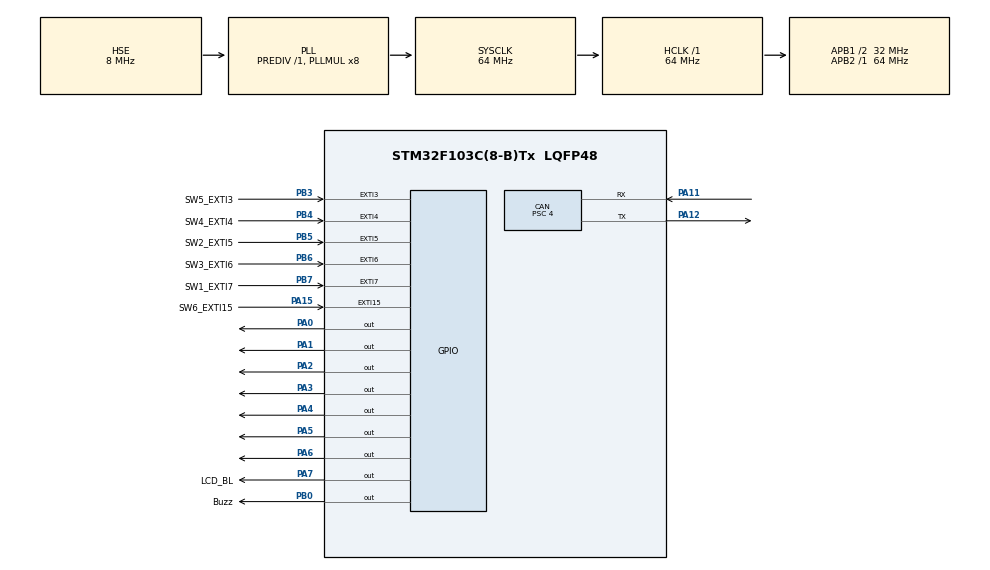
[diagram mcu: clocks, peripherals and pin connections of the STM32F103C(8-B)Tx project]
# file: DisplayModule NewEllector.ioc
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CAN.BS1=CAN_BS1_13TQ
CAN.BS2=CAN_BS2_2TQ
CAN.CalculateBaudRate=500000
CAN.CalculateTimeBit=2000.00
CAN.CalculateTimeQuantum=125.0
CAN.NART=ENABLE
CAN.Prescaler=4
Mcu.Family=STM32F1
Mcu.Name=STM32F103C(8-B)Tx
Mcu.Package=LQFP48
NVIC.EXTI15_10_IRQn=true\:2\:0\:true\:false\:true\:true\:true
NVIC.EXTI3_IRQn=true\:2\:0\:true\:false\:true\:true\:true
NVIC.EXTI4_IRQn=true\:2\:0\:true\:false\:true\:true\:true
NVIC.EXTI9_5_IRQn=true\:2\:0\:true\:false\:true\:true\:true
NVIC.PriorityGroup=NVIC_PRIORITYGROUP_4
NVIC.RTC_IRQn=true\:0\:0\:false\:false\:true\:true\:true
NVIC.TIM2_IRQn=true\:1\:0\:true\:false\:true\:true\:true
NVIC.USB_LP_CAN1_RX0_IRQn=true\:0\:0\:false\:false\:true\:true\:true
PA0-WKUP.GPIO_Speed=GPIO_SPEED_FREQ_HIGH
PA0-WKUP.Signal=GPIO_Output
PA1.GPIO_Speed=GPIO_SPEED_FREQ_HIGH
PA1.Signal=GPIO_Output
PA11.Mode=CAN_Activate
PA11.Signal=CAN_RX
PA12.Mode=CAN_Activate
PA12.Signal=CAN_TX
PA13.Mode=Serial_Wire
PA13.Signal=SYS_JTMS-SWDIO
PA14.Mode=Serial_Wire
PA14.Signal=SYS_JTCK-SWCLK
PA15.GPIO_Label=SW6_EXTI15
PA15.GPIO_ModeDefaultEXTI=GPIO_MODE_IT_FALLING
PA15.GPIO_PuPd=GPIO_PULLUP
PA15.Signal=GPXTI15
PA2.GPIO_Speed=GPIO_SPEED_FREQ_HIGH
PA2.Signal=GPIO_Output
PA3.GPIO_Speed=GPIO_SPEED_FREQ_HIGH
PA3.Signal=GPIO_Output
PA4.GPIO_Speed=GPIO_SPEED_FREQ_HIGH
PA4.Signal=GPIO_Output
PA5.GPIO_Speed=GPIO_SPEED_FREQ_HIGH
PA5.Signal=GPIO_Output
PA6.GPIO_Speed=GPIO_SPEED_FREQ_HIGH
PA6.Signal=GPIO_Output
PA7.GPIO_Label=LCD_BL
PA7.GPIO_Speed=GPIO_SPEED_FREQ_HIGH
PA7.PinState=GPIO_PIN_SET
PA7.Signal=GPIO_Output
PB0.GPIO_Label=Buzz
PB0.Signal=GPIO_Output
PB3.GPIO_Label=SW5_EXTI3
PB3.GPIO_PuPd=GPIO_PULLUP
PB3.Signal=GPXTI3
PB4.GPIO_Label=SW4_EXTI4
PB4.GPIO_ModeDefaultEXTI=GPIO_MODE_IT_FALLING
PB4.GPIO_PuPd=GPIO_PULLUP
PB4.Signal=GPXTI4
PB5.GPIO_Label=SW2_EXTI5
PB5.GPIO_ModeDefaultEXTI=GPIO_MODE_IT_FALLING
PB5.GPIO_PuPd=GPIO_PULLUP
PB5.Signal=GPXTI5
PB6.GPIO_Label=SW3_EXTI6
PB6.GPIO_ModeDefaultEXTI=GPIO_MODE_IT_FALLING
PB6.GPIO_PuPd=GPIO_PULLUP
PB6.Signal=GPXTI6
PB7.GPIO_Label=SW1_EXTI7
PB7.GPIO_ModeDefaultEXTI=GPIO_MODE_IT_FALLING
PB7.GPIO_PuPd=GPIO_PULLUP
PB7.Signal=GPXTI7
PD0-OSC_IN.Mode=HSE-External-Oscillator
PD0-OSC_IN.Signal=RCC_OSC_IN
PD1-OSC_OUT.Mode=HSE-External-Oscillator
PD1-OSC_OUT.Signal=RCC_OSC_OUT
ProjectManager.HeapSize=0x200
ProjectManager.StackSize=0x400
ProjectManager.TargetToolchain=EWARM V8.32
RCC.AHBFreq_Value=64000000
RCC.APB1CLKDivider=RCC_HCLK_DIV2
RCC.APB1Freq_Value=32000000
RCC.APB1TimFreq_Value=64000000
RCC.APB2Freq_Value=64000000
RCC.APB2TimFreq_Value=64000000
RCC.HCLKFreq_Value=64000000
RCC.PLLMUL=RCC_PLL_MUL8
RCC.PLLSourceVirtual=RCC_PLLSOURCE_HSE
RCC.RTCClockSelection=RCC_RTCCLKSOURCE_HSE_DIV128
RCC.SYSCLKFreq_VALUE=64000000
RCC.SYSCLKSource=RCC_SYSCLKSOURCE_PLLCLK
RCC.USBFreq_Value=64000000
RTC.Date=14
RTC.Format=RTC_FORMAT_BIN
RTC.Hours=14
RTC.Minutes=35
RTC.Month=RTC_MONTH_JULY
RTC.OutPut=RTC_OUTPUTSOURCE_ALARM
RTC.WeekDay=RTC_WEEKDAY_TUESDAY
RTC.Year=20
TIM1.Period=0xffff-1
TIM1.Prescaler=64-1
TIM2.Period=2000
TIM2.Prescaler=64-1
VP_RTC_VS_RTC_Activate.Mode=RTC_Enabled
VP_RTC_VS_RTC_Calendar.Mode=RTC_Calendar
VP_TIM1_VS_ClockSourceINT.Mode=Internal
VP_TIM2_VS_ClockSourceINT.Mode=Internal
board=custom

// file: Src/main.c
/* USER CODE BEGIN Header */
/**
  ******************************************************************************
  * @file           : main.c
  * @brief          : Main program body
  ******************************************************************************
  * @attention
  *
  * <h2><center>&copy; Copyright (c) 2020 STMicroelectronics.
  * All rights reserved.</center></h2>
  *
  * This software component is licensed by ST under BSD 3-Clause license,
  * the "License"; You may not use this file except in compliance with the
  * License. You may obtain a copy of the License at:
  *                        opensource.org/licenses/BSD-3-Clause
  *
  ******************************************************************************
  */
/* USER CODE END Header */
#include "main.h"

/* USER CODE BEGIN Includes */
#include "LCD_LMB161A.h"
#include "LCD_Modes.h"
#include "CAN_GlobalFunctions.h"
/* USER CODE END Includes */

CAN_HandleTypeDef hcan;

RTC_HandleTypeDef hrtc;

TIM_HandleTypeDef htim1;
TIM_HandleTypeDef htim2;

/* USER CODE BEGIN PV */
extern volatile MODE_t MODE;
/* USER CODE END PV */

void SystemClock_Config(void);
static void MX_GPIO_Init(void);
static void MX_CAN_Init(void);
static void MX_RTC_Init(void);
static void MX_TIM1_Init(void);
static void MX_TIM2_Init(void);

int main(void)
{

  /* MCU Configuration--------------------------------------------------------*/

  /* Reset of all peripherals, Initializes the Flash interface and the Systick. */
  HAL_Init();

  /* Configure the system clock */
  SystemClock_Config();

  /* Initialize all configured peripherals */
  MX_GPIO_Init();
  MX_CAN_Init();
  MX_RTC_Init();
  MX_TIM1_Init();
  MX_TIM2_Init();
  /* USER CODE BEGIN 2 */
   LCD_Init_4Bits();

  /* USER CODE END 2 */

  /* Infinite loop */
   while (1)
  {

    /* USER CODE BEGIN 3 */
	   switch(MODE.firstLevel)
     {
     case 1:
		 LCD_Screen_1();
		 break;
     case 2:
		 LCD_Screen_2();
		 break;
     case 3:
		 LCD_Screen_3();
		 break;
	case 4:
		 LCD_Screen_4();
		 break;
     default:
		 LCD_Screen_1();
		 break;
     }
  }
  /* USER CODE END 3 */
}

void SystemClock_Config(void)
{
  RCC_OscInitTypeDef RCC_OscInitStruct = {0};
  RCC_ClkInitTypeDef RCC_ClkInitStruct = {0};
  RCC_PeriphCLKInitTypeDef PeriphClkInit = {0};

  /** Initializes the RCC Oscillators according to the specified parameters
  * in the RCC_OscInitTypeDef structure.
  */
  RCC_OscInitStruct.OscillatorType = RCC_OSCILLATORTYPE_HSE;
  RCC_OscInitStruct.HSEState = RCC_HSE_ON;
  RCC_OscInitStruct.HSEPredivValue = RCC_HSE_PREDIV_DIV1;
  RCC_OscInitStruct.HSIState = RCC_HSI_ON;
  RCC_OscInitStruct.PLL.PLLState = RCC_PLL_ON;
  RCC_OscInitStruct.PLL.PLLSource = RCC_PLLSOURCE_HSE;
  RCC_OscInitStruct.PLL.PLLMUL = RCC_PLL_MUL8;
  if (HAL_RCC_OscConfig(&RCC_OscInitStruct) != HAL_OK)
  {
    Error_Handler();
  }
  /** Initializes the CPU, AHB and APB buses clocks
  */
  RCC_ClkInitStruct.ClockType = RCC_CLOCKTYPE_HCLK|RCC_CLOCKTYPE_SYSCLK
                              |RCC_CLOCKTYPE_PCLK1|RCC_CLOCKTYPE_PCLK2;
  RCC_ClkInitStruct.SYSCLKSource = RCC_SYSCLKSOURCE_PLLCLK;
  RCC_ClkInitStruct.AHBCLKDivider = RCC_SYSCLK_DIV1;
  RCC_ClkInitStruct.APB1CLKDivider = RCC_HCLK_DIV2;
  RCC_ClkInitStruct.APB2CLKDivider = RCC_HCLK_DIV1;

  if (HAL_RCC_ClockConfig(&RCC_ClkInitStruct, FLASH_LATENCY_2) != HAL_OK)
  {
    Error_Handler();
  }
  PeriphClkInit.PeriphClockSelection = RCC_PERIPHCLK_RTC;
  PeriphClkInit.RTCClockSelection = RCC_RTCCLKSOURCE_HSE_DIV128;
  if (HAL_RCCEx_PeriphCLKConfig(&PeriphClkInit) != HAL_OK)
  {
    Error_Handler();
  }
}

static void MX_CAN_Init(void)
{

  hcan.Instance = CAN1;
  hcan.Init.Prescaler = 4;
  hcan.Init.Mode = CAN_MODE_NORMAL;
  hcan.Init.SyncJumpWidth = CAN_SJW_1TQ;
  hcan.Init.TimeSeg1 = CAN_BS1_13TQ;
  hcan.Init.TimeSeg2 = CAN_BS2_2TQ;
  hcan.Init.TimeTriggeredMode = DISABLE;
  hcan.Init.AutoBusOff = DISABLE;
  hcan.Init.AutoWakeUp = DISABLE;
  hcan.Init.AutoRetransmission = ENABLE;
  hcan.Init.ReceiveFifoLocked = DISABLE;
  hcan.Init.TransmitFifoPriority = DISABLE;
  if (HAL_CAN_Init(&hcan) != HAL_OK)
  {
    Error_Handler();
  }
  /* USER CODE BEGIN CAN_Init 2 */

   //configure filter structure
  CAN_FilterTypeDef canFilter;

  canFilter.FilterActivation = CAN_FILTER_ENABLE;
  canFilter.FilterBank = 0;
  canFilter.FilterFIFOAssignment = CAN_RX_FIFO0;
  canFilter.FilterIdHigh = 0x0000;
  canFilter.FilterIdLow = 0x0000;
  canFilter.FilterMaskIdHigh = 0x0000;
  canFilter.FilterMaskIdLow = 0x0000;
  canFilter.FilterMode = CAN_FILTERMODE_IDMASK;
  canFilter.FilterScale = CAN_FILTERSCALE_32BIT;

  if(HAL_CAN_ConfigFilter(&hcan, &canFilter) != HAL_OK)
  {
    Error_Handler();
  }

  if(HAL_CAN_ActivateNotification(&hcan, CAN_IT_RX_FIFO0_MSG_PENDING) != HAL_OK)
  {
    Error_Handler();
  }

  if(HAL_CAN_Start(&hcan) != HAL_OK)
  {
    Error_Handler();
  }

  /* USER CODE END CAN_Init 2 */

}

static void MX_RTC_Init(void)
{

  RTC_TimeTypeDef sTime = {0};
  RTC_DateTypeDef DateToUpdate = {0};

  /** Initialize RTC Only
  */
  hrtc.Instance = RTC;
  hrtc.Init.AsynchPrediv = RTC_AUTO_1_SECOND;
  hrtc.Init.OutPut = RTC_OUTPUTSOURCE_ALARM;
  if (HAL_RTC_Init(&hrtc) != HAL_OK)
  {
    Error_Handler();
  }

  /** Initialize RTC and set the Time and Date
  */
  sTime.Hours = 14;
  sTime.Minutes = 35;
  sTime.Seconds = 0;

  if (HAL_RTC_SetTime(&hrtc, &sTime, RTC_FORMAT_BIN) != HAL_OK)
  {
    Error_Handler();
  }
  DateToUpdate.WeekDay = RTC_WEEKDAY_TUESDAY;
  DateToUpdate.Month = RTC_MONTH_JULY;
  DateToUpdate.Date = 14;
  DateToUpdate.Year = 20;

  if (HAL_RTC_SetDate(&hrtc, &DateToUpdate, RTC_FORMAT_BIN) != HAL_OK)
  {
    Error_Handler();
  }
  /* USER CODE BEGIN RTC_Init 2 */
  __HAL_RTC_SECOND_ENABLE_IT(&hrtc,RTC_IT_SEC); //turn on RTC clock seconds interrupt
  /* USER CODE END RTC_Init 2 */

}

static void MX_TIM1_Init(void)
{

  TIM_ClockConfigTypeDef sClockSourceConfig = {0};
  TIM_MasterConfigTypeDef sMasterConfig = {0};

  htim1.Instance = TIM1;
  htim1.Init.Prescaler = 64-1;
  htim1.Init.CounterMode = TIM_COUNTERMODE_UP;
  htim1.Init.Period = 0xffff-1;
  htim1.Init.ClockDivision = TIM_CLOCKDIVISION_DIV1;
  htim1.Init.RepetitionCounter = 0;
  htim1.Init.AutoReloadPreload = TIM_AUTORELOAD_PRELOAD_DISABLE;
  if (HAL_TIM_Base_Init(&htim1) != HAL_OK)
  {
    Error_Handler();
  }
  sClockSourceConfig.ClockSource = TIM_CLOCKSOURCE_INTERNAL;
  if (HAL_TIM_ConfigClockSource(&htim1, &sClockSourceConfig) != HAL_OK)
  {
    Error_Handler();
  }
  sMasterConfig.MasterOutputTrigger = TIM_TRGO_RESET;
  sMasterConfig.MasterSlaveMode = TIM_MASTERSLAVEMODE_DISABLE;
  if (HAL_TIMEx_MasterConfigSynchronization(&htim1, &sMasterConfig) != HAL_OK)
  {
    Error_Handler();
  }
  /* USER CODE BEGIN TIM1_Init 2 */
  HAL_TIM_Base_Start(&htim1);
  /* USER CODE END TIM1_Init 2 */

}

static void MX_TIM2_Init(void)
{

  TIM_ClockConfigTypeDef sClockSourceConfig = {0};
  TIM_MasterConfigTypeDef sMasterConfig = {0};

  htim2.Instance = TIM2;
  htim2.Init.Prescaler = 64-1;
  htim2.Init.CounterMode = TIM_COUNTERMODE_UP;
  htim2.Init.Period = 2000;
  htim2.Init.ClockDivision = TIM_CLOCKDIVISION_DIV1;
  htim2.Init.AutoReloadPreload = TIM_AUTORELOAD_PRELOAD_DISABLE;
  if (HAL_TIM_Base_Init(&htim2) != HAL_OK)
  {
    Error_Handler();
  }
  sClockSourceConfig.ClockSource = TIM_CLOCKSOURCE_INTERNAL;
  if (HAL_TIM_ConfigClockSource(&htim2, &sClockSourceConfig) != HAL_OK)
  {
    Error_Handler();
  }
  sMasterConfig.MasterOutputTrigger = TIM_TRGO_RESET;
  sMasterConfig.MasterSlaveMode = TIM_MASTERSLAVEMODE_DISABLE;
  if (HAL_TIMEx_MasterConfigSynchronization(&htim2, &sMasterConfig) != HAL_OK)
  {
    Error_Handler();
  }
  /* USER CODE BEGIN TIM2_Init 2 */
  __HAL_TIM_CLEAR_FLAG(&htim2, TIM_IT_UPDATE);
  /* USER CODE END TIM2_Init 2 */

}

static void MX_GPIO_Init(void)
{
  GPIO_InitTypeDef GPIO_InitStruct = {0};

  /* GPIO Ports Clock Enable */
  __HAL_RCC_GPIOD_CLK_ENABLE();
  __HAL_RCC_GPIOA_CLK_ENABLE();
  __HAL_RCC_GPIOB_CLK_ENABLE();

  /*Configure GPIO pin Output Level */
  HAL_GPIO_WritePin(GPIOA, GPIO_PIN_0|GPIO_PIN_1|GPIO_PIN_2|GPIO_PIN_3
                          |GPIO_PIN_4|GPIO_PIN_5|GPIO_PIN_6, GPIO_PIN_RESET);

  /*Configure GPIO pin Output Level */
  HAL_GPIO_WritePin(LCD_BL_GPIO_Port, LCD_BL_Pin, GPIO_PIN_SET);

  /*Configure GPIO pin Output Level */
  HAL_GPIO_WritePin(Buzz_GPIO_Port, Buzz_Pin, GPIO_PIN_RESET);

  /*Configure GPIO pins : PA0 PA1 PA2 PA3
                           PA4 PA5 PA6 LCD_BL_Pin */
  GPIO_InitStruct.Pin = GPIO_PIN_0|GPIO_PIN_1|GPIO_PIN_2|GPIO_PIN_3
                          |GPIO_PIN_4|GPIO_PIN_5|GPIO_PIN_6|LCD_BL_Pin;
  GPIO_InitStruct.Mode = GPIO_MODE_OUTPUT_PP;
  GPIO_InitStruct.Pull = GPIO_NOPULL;
  GPIO_InitStruct.Speed = GPIO_SPEED_FREQ_HIGH;
  HAL_GPIO_Init(GPIOA, &GPIO_InitStruct);

  /*Configure GPIO pin : Buzz_Pin */
  GPIO_InitStruct.Pin = Buzz_Pin;
  GPIO_InitStruct.Mode = GPIO_MODE_OUTPUT_PP;
  GPIO_InitStruct.Pull = GPIO_NOPULL;
  GPIO_InitStruct.Speed = GPIO_SPEED_FREQ_LOW;
  HAL_GPIO_Init(Buzz_GPIO_Port, &GPIO_InitStruct);

  /*Configure GPIO pin : SW6_EXTI15_Pin */
  GPIO_InitStruct.Pin = SW6_EXTI15_Pin;
  GPIO_InitStruct.Mode = GPIO_MODE_IT_FALLING;
  GPIO_InitStruct.Pull = GPIO_PULLUP;
  HAL_GPIO_Init(SW6_EXTI15_GPIO_Port, &GPIO_InitStruct);

  /*Configure GPIO pin : SW5_EXTI3_Pin */
  GPIO_InitStruct.Pin = SW5_EXTI3_Pin;
  GPIO_InitStruct.Mode = GPIO_MODE_IT_RISING;
  GPIO_InitStruct.Pull = GPIO_PULLUP;
  HAL_GPIO_Init(SW5_EXTI3_GPIO_Port, &GPIO_InitStruct);

  /*Configure GPIO pins : SW4_EXTI4_Pin SW2_EXTI5_Pin SW3_EXTI6_Pin SW1_EXTI7_Pin */
  GPIO_InitStruct.Pin = SW4_EXTI4_Pin|SW2_EXTI5_Pin|SW3_EXTI6_Pin|SW1_EXTI7_Pin;
  GPIO_InitStruct.Mode = GPIO_MODE_IT_FALLING;
  GPIO_InitStruct.Pull = GPIO_PULLUP;
  HAL_GPIO_Init(GPIOB, &GPIO_InitStruct);

  /* EXTI interrupt init*/
  HAL_NVIC_SetPriority(EXTI3_IRQn, 2, 0);
  HAL_NVIC_EnableIRQ(EXTI3_IRQn);

  HAL_NVIC_SetPriority(EXTI4_IRQn, 2, 0);
  HAL_NVIC_EnableIRQ(EXTI4_IRQn);

  HAL_NVIC_SetPriority(EXTI9_5_IRQn, 2, 0);
  HAL_NVIC_EnableIRQ(EXTI9_5_IRQn);

  HAL_NVIC_SetPriority(EXTI15_10_IRQn, 2, 0);
  HAL_NVIC_EnableIRQ(EXTI15_10_IRQn);

}

void Error_Handler(void)
{
}

/************************ (C) COPYRIGHT STMicroelectronics *****END OF FILE****/
